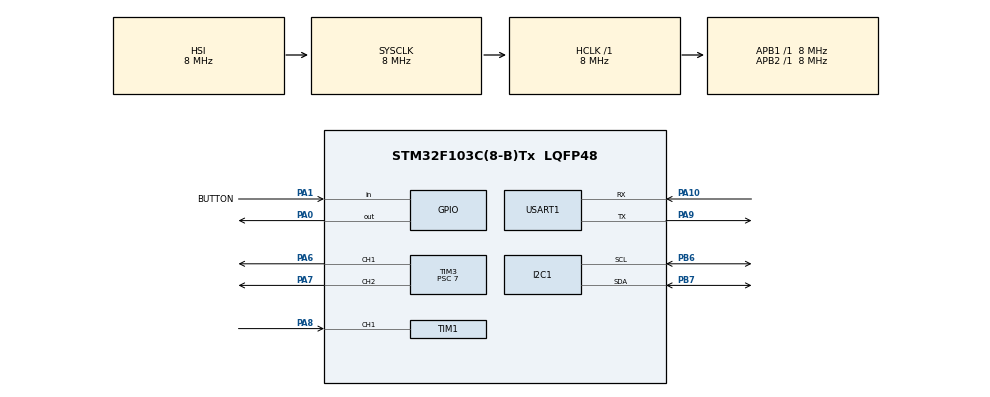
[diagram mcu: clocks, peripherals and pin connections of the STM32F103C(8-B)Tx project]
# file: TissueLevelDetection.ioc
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I2C1.I2C_Mode=I2C_Fast
Mcu.Family=STM32F1
Mcu.Name=STM32F103C(8-B)Tx
Mcu.Package=LQFP48
NVIC.PriorityGroup=NVIC_PRIORITYGROUP_4
PA0-WKUP.Signal=GPIO_Output
PA1.GPIO_Label=BUTTON
PA1.GPIO_PuPd=GPIO_PULLUP
PA1.Signal=GPIO_Input
PA10.Mode=Asynchronous
PA10.Signal=USART1_RX
PA13.Mode=Serial_Wire
PA13.Signal=SYS_JTMS-SWDIO
PA14.Mode=Serial_Wire
PA14.Signal=SYS_JTCK-SWCLK
PA6.Signal=S_TIM3_CH1
PA7.Signal=S_TIM3_CH2
PA8.Signal=S_TIM1_CH1
PA9.Mode=Asynchronous
PA9.Signal=USART1_TX
PB6.Mode=I2C
PB6.Signal=I2C1_SCL
PB7.Mode=I2C
PB7.Signal=I2C1_SDA
ProjectManager.HeapSize=0x800
ProjectManager.StackSize=0x400
ProjectManager.TargetToolchain=MDK-ARM V5.32
RCC.AHBFreq_Value=8000000
RCC.APB1Freq_Value=8000000
RCC.APB1TimCLKDivider=1
RCC.APB1TimFreq_Value=8000000
RCC.APB2Freq_Value=8000000
RCC.APB2TimFreq_Value=8000000
RCC.HCLKFreq_Value=8000000
RCC.SYSCLKFreq_VALUE=8000000
RCC.USBFreq_Value=8000000
SH.S_TIM1_CH1.0=TIM1_CH1,Input_Capture1_from_TI1
SH.S_TIM3_CH1.0=TIM3_CH1,PWM Generation1 CH1
SH.S_TIM3_CH2.0=TIM3_CH2,PWM Generation2 CH2
TIM1.AutoReloadPreload=TIM_AUTORELOAD_PRELOAD_ENABLE
TIM1.Channel-Input_Capture1_from_TI1=TIM_CHANNEL_1
TIM1.Channel-Input_Capture2_from_TI1_63=TIM_CHANNEL_2
TIM1.ICPolarity_CH2=TIM_INPUTCHANNELPOLARITY_FALLING
TIM1.Prescaler=7
TIM3.AutoReloadPreload=TIM_AUTORELOAD_PRELOAD_ENABLE
TIM3.Channel-PWM\ Generation1\ CH1=TIM_CHANNEL_1
TIM3.Channel-PWM\ Generation2\ CH2=TIM_CHANNEL_2
TIM3.Period=19999
TIM3.Prescaler=7
TIM3.Pulse-PWM\ Generation1\ CH1=500
TIM3.Pulse-PWM\ Generation2\ CH2=500
USART1.VirtualMode=VM_ASYNC
VP_TIM1_VS_ClockSourceINT.Mode=Internal
VP_TIM1_VS_indirect_ch1.Mode=Input_Capture2_from_TI1_63
board=custom

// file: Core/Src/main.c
/* USER CODE BEGIN Header */
/**
  ******************************************************************************
  * @file           : main.c
  * @brief          : Main program body
  ******************************************************************************
  * @attention
  *
  * Copyright (c) 2026 STMicroelectronics.
  * All rights reserved.
  *
  * This software is licensed under terms that can be found in the LICENSE file
  * in the root directory of this software component.
  * If no LICENSE file comes with this software, it is provided AS-IS.
  *
  ******************************************************************************
  */
/* USER CODE END Header */
#include "main.h"

/* USER CODE BEGIN Includes */
#include <stdio.h>
#include "oled.h"
#include "FreeRTOS.h"
#include "task.h"
#include "queue.h"
/* Face bitmaps (defined in face/cat_happy.c, cat-sleep.c, cat-cry.c) */
extern const uint8_t face_happy[];
extern const uint8_t face_sleep[];
extern const uint8_t face_cry[];

/* USER CODE END Includes */

/* USER CODE BEGIN PD */
/* ---- Servo control parameters (TIM3, PSC=7/ARR=19999 -> 50 Hz; CCR = deg/180*2000 + 500) ---- */
#define SERVO_ANGLE_SIT     0      /* sit = 0 deg */
#define SERVO_ANGLE_STAND   90     /* stand = 90 deg */
#define SERVO_CCR(deg)  ((uint16_t)((deg) * 2000 / 180 + 500))

#define SERVO_STEP_MS        10    /* sit/stand slow motion: 1 deg per step, hold 10 ms */
#define SERVO_STEP_DELAY_MS  200   /* walk: how long to hold each half-step */
#define SERVO_STEP_TIMES     10     /* full box (>=80%): walk forward 10 steps */

#define SERVO_MIRROR_RIGHT   1     /* right servo mirrored (=1 is correct, verified by 'in sync' test) */

/* Ultrasonic calibration (meters) */
#define DIST_FULL_M    0.02f       /* full: 2 cm */
#define DIST_EMPTY_M   0.065f      /* empty: 6.5 cm */

/* Trigger thresholds (percent) */
#define TH_WALK    75.0f           /* >=75%: walk forward */
#define TH_SLEEP   30.0f           /* <30%: sleep face + reminder */
#define TH_CRY 		 5.0f

/* Measurement cadence */
#define MEASURE_PERIOD_MS  200     /* sample every 200 ms (real-time) */
#define MEDIAN_WINDOW      7       /* sliding-median window: last N readings */
#define DISPLAY_STEP_PCT   5       /* round displayed percent to this step (5 -> 0/5/10/.../100) */
#define DIST_MAX_VALID_M   0.10f   /* discard readings beyond this (spurious echo reflections) */

/* Task parameters -----------------------------------------------------------*/
#define START_TASK_PRIO	0
#define START_STK_SIZE  256

#define CONTROL_TASK_PRIO	3
#define CONTROL_STK_SIZE  256

#define BUTTON_TASK_PRIO	3
#define BUTTON_STK_SIZE   256

#define DETECT_TASK_PRIO	2
#define DETECT_STK_SIZE   256

#define SERVO_TASK_PRIO	1
#define SERVO_STK_SIZE  256

#define OLED_TASK_PRIO	0
#define OLED_STK_SIZE   256

/* USER CODE END PD */

I2C_HandleTypeDef hi2c1;

TIM_HandleTypeDef htim1;
TIM_HandleTypeDef htim3;

UART_HandleTypeDef huart1;

/* USER CODE BEGIN PV */
OLED_TypeDef OLED;
/* TASK Variables ------------------------------------------------------------*/
TaskHandle_t StartTask_Handler;
TaskHandle_t ControlTask_Handler;
TaskHandle_t ButtonTask_Handler;
TaskHandle_t DetectTask_Handler;
TaskHandle_t ServoTask_Handler;
TaskHandle_t OLEDTask_Handler;
/* Queue Variables -----------------------------------------------------------*/
QueueHandle_t g_percentQueue;

typedef enum { SERVO_NONE=0, SERVO_WALK=1, SERVO_SLEEP=2, SERVO_CRY=3 } ServoAction_t;
// static float percent,distance; not a good method to use in rtos

/* USER CODE END PV */

void SystemClock_Config(void);
static void MX_GPIO_Init(void);
static void MX_TIM1_Init(void);
static void MX_I2C1_Init(void);
static void MX_USART1_UART_Init(void);
static void MX_TIM3_Init(void);
/* USER CODE BEGIN PFP */
/* Task function prototypes --------------------------------------------------*/
void start_task(void *pvParameters);
void control_task(void *pvParameters);
void button_task(void *pvParameters);
void detect_task(void *pvParameters);
void servo_task(void *pvParameters);
void oled_task(void *pvParameters);

/* USER CODE END PFP */

/* USER CODE BEGIN 0 */
int i2c_write_bytes(uint8_t addr, const uint8_t *pdata, uint16_t size)
{
	if (HAL_I2C_Master_Transmit(&hi2c1, addr, (uint8_t *)pdata, size, 100) != HAL_OK)
	{
		return -1;
	}
	return 0;
}

void My_OLEDScreen_Init(void)
{
	OLED_InitTypeDef OLED_InitStruct;
	OLED_InitStruct.i2c_write_cb=i2c_write_bytes;
	HAL_Delay(5);
	OLED_Init(&OLED,&OLED_InitStruct);
}

/* standby: all white (clears garbage screen on power-up / stop) */
static void OLED_ShowWhite(void)
{
    OLED_Clear(&OLED);
    OLED_SetPen(&OLED, PEN_COLOR_WHITE, 1);
    OLED_SetBrush(&OLED, BRUSH_WHITE);
    OLED_SetCursor(&OLED, 0, 0);
    OLED_DrawRect(&OLED, 128, 64);
    OLED_SendBuffer(&OLED);
}

/* distance -> tissue percent (linear calibration, 0~100) */
static float Tissue_Percent(float distance)
{
    if (distance <= DIST_FULL_M)  return 100.0f;
    if (distance >= DIST_EMPTY_M) return 0.0f;
    return (DIST_EMPTY_M - distance) / (DIST_EMPTY_M - DIST_FULL_M) * 100.0f;
}

/* set both servo angles at once (left = CH1, right = CH2) */
static void Servo_SetDegrees(int leftDeg, int rightDeg)
{
    __HAL_TIM_SET_COMPARE(&htim3, TIM_CHANNEL_1, SERVO_CCR(leftDeg));
    __HAL_TIM_SET_COMPARE(&htim3, TIM_CHANNEL_2,
        SERVO_MIRROR_RIGHT ? SERVO_CCR(180 - rightDeg) : SERVO_CCR(rightDeg));
}

/* move gradually from fromDeg to toDeg (increment + delay) */
static void Servo_MoveTo(int fromDeg, int toDeg)
{
    int step = (toDeg >= fromDeg) ? 1 : -1;
    for (int a = fromDeg; a != toDeg + step; a += step)
    {
        Servo_SetDegrees(a, a);
        vTaskDelay(pdMS_TO_TICKS(SERVO_STEP_MS));
    }
}

void OLED_ShowLevel(OLED_TypeDef *OLED, float distance)
{
	uint8_t percent = (uint8_t)Tissue_Percent(distance);

	OLED_Clear(OLED);

	// distance text
	OLED_SetCursor(OLED, 0, OLED_GetFontHeight(OLED));
	OLED_Printf(OLED, "Distance: %.2f m", distance);

	// progress bar frame
	OLED_SetPen(OLED, PEN_COLOR_WHITE, 1);
	OLED_SetBrush(OLED, BRUSH_TRANSPARENT);
	OLED_SetCursor(OLED, 14, 20);
	OLED_DrawRect(OLED, 100, 12);

	// progress bar fill
	if (percent > 0)
	{
		uint16_t fillW = (uint16_t)((100 - 2) * percent / 100);
		OLED_SetPen(OLED, PEN_COLOR_TRANSPARENT, 1);
		OLED_SetBrush(OLED, BRUSH_WHITE);
		OLED_SetCursor(OLED, 15, 21);
		OLED_DrawRect(OLED, fillW, 10);
	}

	// percent label (centered)
	char pct[8];
	snprintf(pct, sizeof(pct), "%d%%", percent);
	OLED_SetPen(OLED, PEN_COLOR_WHITE, 1);
	OLED_SetBrush(OLED, BRUSH_TRANSPARENT);
	OLED_SetCursor(OLED, (int16_t)((OLED_GetScreenWidth(OLED) - OLED_GetStrWidth(OLED, pct)) / 2), 48);
	OLED_DrawString(OLED, pct);
}
/* show tissue level (0~100): a progress bar plus the centered percentage */
static void OLED_ShowPercent(OLED_TypeDef *OLED, uint8_t percent)
{
    OLED_Clear(OLED);

    /* title */
    OLED_SetPen(OLED, PEN_COLOR_WHITE, 1);
    OLED_SetBrush(OLED, BRUSH_TRANSPARENT);
    OLED_SetCursor(OLED, 0, 0);
    OLED_DrawString(OLED, "Tissue Level");

    /* progress bar frame */
    OLED_SetCursor(OLED, 14, 24);
    OLED_DrawRect(OLED, 100, 12);

    /* progress bar fill */
    if (percent > 0)
    {
        uint16_t fillW = (uint16_t)((100 - 2) * percent / 100);
        OLED_SetPen(OLED, PEN_COLOR_TRANSPARENT, 1);
        OLED_SetBrush(OLED, BRUSH_WHITE);
        OLED_SetCursor(OLED, 15, 25);
        OLED_DrawRect(OLED, fillW, 10);
    }

    /* percent number, centered */
    char pct[8];
    snprintf(pct, sizeof(pct), "%d%%", percent);
    OLED_SetPen(OLED, PEN_COLOR_WHITE, 1);
    OLED_SetBrush(OLED, BRUSH_TRANSPARENT);
    OLED_SetCursor(OLED, (int16_t)((OLED_GetScreenWidth(OLED) - OLED_GetStrWidth(OLED, pct)) / 2), 44);
    OLED_DrawString(OLED, pct);
}

/* sit / stand */
static void Servo_Sit(void)   { Servo_SetDegrees(SERVO_ANGLE_SIT,   SERVO_ANGLE_SIT); }

/* walk (forward): the two legs must be opposite; we pass 'opposite logical angles' here, and with SERVO_MIRROR_RIGHT=1 they become
   the same physical angle (45,45)/(135,135), i.e. legs alternate; your earlier (45,45)/(135,135) was the root cause of both legs swinging in sync */
static void Servo_Step(uint8_t steps)
{
    for (uint8_t s = 0; s < steps; s++)
    {
        Servo_SetDegrees(45, 135);      /* left forward, right back */
        vTaskDelay(pdMS_TO_TICKS(SERVO_STEP_DELAY_MS));
        Servo_SetDegrees(135, 45);      /* swap */
        vTaskDelay(pdMS_TO_TICKS(SERVO_STEP_DELAY_MS));
    }
    Servo_Sit();                        /* sit down after walking */
}

/* ===== Faces ===== */
static void Show_Face(const uint8_t *bitmap)
{
    OLED_Clear(&OLED);
    OLED_SetCursor(&OLED, 0, 0);
    OLED_DrawBitmap(&OLED, 128, 64, bitmap);
    OLED_SendBuffer(&OLED);
}

static const uint8_t *Get_Face(float percent)
{
    if (percent >= TH_SLEEP) return face_happy;   /* >=40%: happy */
    if (percent >= TH_CRY)     return face_sleep;   /* 1~39%: sleep */
    return face_cry;                              /* 0%: cry */
}

/* ===== Button (internal pull-up, pressed = low), debounced, one report per press ===== */
static uint8_t Button_IsPressed(void)
{
    static uint8_t last = 1;
    uint8_t now = HAL_GPIO_ReadPin(BUTTON_GPIO_Port, BUTTON_Pin);
    if (now == 0 && last == 1)
    {
        HAL_Delay(30);                            /* debounce */
        if (HAL_GPIO_ReadPin(BUTTON_GPIO_Port, BUTTON_Pin) == 0)
        {
            last = 0;
            return 1;
        }
    }
    last = now;
    return 0;
}

/* single ultrasonic measurement; returns 1 on success and writes the distance to *pDistance */
static uint8_t Read_Once(float *pDistance)
{
    __HAL_TIM_SET_COUNTER(&htim1, 0);
    __HAL_TIM_CLEAR_FLAG(&htim1, TIM_FLAG_CC1);
    __HAL_TIM_CLEAR_FLAG(&htim1, TIM_FLAG_CC2);
    HAL_TIM_IC_Start(&htim1, TIM_CHANNEL_1);
    HAL_TIM_IC_Start(&htim1, TIM_CHANNEL_2);
    HAL_GPIO_WritePin(GPIOA, GPIO_PIN_0, GPIO_PIN_SET);
    for (volatile uint32_t i = 0; i < 80; i++);   /* ~50 us trigger pulse (>10 us min) */
    HAL_GPIO_WritePin(GPIOA, GPIO_PIN_0, GPIO_PIN_RESET);

    uint8_t success = 0;
    uint32_t expire = HAL_GetTick() + 50;
    while (HAL_GetTick() < expire)
    {
        if (__HAL_TIM_GET_FLAG(&htim1, TIM_FLAG_CC1) &&
            __HAL_TIM_GET_FLAG(&htim1, TIM_FLAG_CC2)) { success = 1; break; }
    }
    HAL_TIM_IC_Stop(&htim1, TIM_CHANNEL_1);
    HAL_TIM_IC_Stop(&htim1, TIM_CHANNEL_2);
    if (!success) return 0;

    uint16_t ccr1 = __HAL_TIM_GET_COMPARE(&htim1, TIM_CHANNEL_1);
    uint16_t ccr2 = __HAL_TIM_GET_COMPARE(&htim1, TIM_CHANNEL_2);
    *pDistance = 340.0f * (ccr2 - ccr1) * 1e-6f / 2.0f;
    return 1;
}

/* ===== State ===== */
static uint8_t Running   = 0;   /* 0 = stopped, 1 = running */
static uint8_t Ran_Happy = 0;   /* whether the >=75% walk-forward has run */
static uint8_t Ran_Sleep = 0;   /* whether the <30% reminder has run */
static uint8_t Ran_Cry   = 0;   /* whether the <5% reminder has run */

/* Task Function----------------------------------------------------*/
void start_task(void *pvParameters)
{
	taskENTER_CRITICAL();
	//create queue
	g_percentQueue = xQueueCreate(2, sizeof(float));
	//create control task
	xTaskCreate(control_task,"control_task",CONTROL_STK_SIZE,NULL,CONTROL_TASK_PRIO,&ControlTask_Handler);
	xTaskCreate(button_task,"button_task",BUTTON_STK_SIZE,NULL,BUTTON_TASK_PRIO,&ButtonTask_Handler);
	xTaskCreate(detect_task,"detect_task",DETECT_STK_SIZE,NULL,DETECT_TASK_PRIO,&DetectTask_Handler);
	xTaskCreate(servo_task,"servo_task",SERVO_STK_SIZE,NULL,SERVO_TASK_PRIO,&ServoTask_Handler);
	xTaskCreate(oled_task,"oled_task",OLED_STK_SIZE,NULL,OLED_TASK_PRIO,&OLEDTask_Handler);
	taskEXIT_CRITICAL();
	vTaskDelete(NULL);
}

void detect_task(void *pvParameters)
{
	float hist[MEDIAN_WINDOW];
	uint8_t n = 0, idx = 0;
	int8_t lastSent = -1;   /* -1 = nothing sent yet */

	for(;;)
	{
		float distance = 0;
		if (Read_Once(&distance) && distance <= DIST_MAX_VALID_M)
		{
			/* push into the sliding window */
			hist[idx] = distance;
			idx = (uint8_t)((idx + 1) % MEDIAN_WINDOW);
			if (n < MEDIAN_WINDOW) n++;

			/* median of the last n readings */
			float s[MEDIAN_WINDOW];
			for (uint8_t i = 0; i < n; i++) s[i] = hist[i];
			for (uint8_t i = 0; i + 1 < n; i++)
				for (uint8_t j = i + 1; j < n; j++)
					if (s[j] < s[i]) { float t = s[i]; s[i] = s[j]; s[j] = t; }

			/* percent rounded to DISPLAY_STEP_PCT, so 1~3% jitter doesn't flicker the display */
			float p = Tissue_Percent(s[n / 2]);
			int q = (int)(p / DISPLAY_STEP_PCT + 0.5f) * DISPLAY_STEP_PCT;
			if (q > 100) q = 100;
			if (q < 0)   q = 0;

			/* only send when the level actually changed */
			if (q != lastSent)
			{
				lastSent = q;
				float percent = (float)q;
				xQueueSend(g_percentQueue, &percent, portMAX_DELAY);
			}
		}
		vTaskDelay(pdMS_TO_TICKS(MEASURE_PERIOD_MS));
	}
}
void button_task(void *pvParameters) {
    for (;;) {
        if (Button_IsPressed()) {
            xTaskNotifyGive(ControlTask_Handler);   // send notify to control task
        }
        vTaskDelay(pdMS_TO_TICKS(10));              // 10ms
    }
}

/* evaluate a level (0~100): fire the one-shot servo action and show it on the OLED */
static void Apply_Level(float percent)
{
	ServoAction_t act = SERVO_NONE;
	if      (percent >= TH_WALK  && !Ran_Happy) { act = SERVO_WALK;  Ran_Happy = 1; }
	else if (percent < TH_CRY    && !Ran_Cry)    { act = SERVO_CRY;   Ran_Cry   = 1; }
	else if (percent < TH_SLEEP  && !Ran_Sleep)  { act = SERVO_SLEEP; Ran_Sleep = 1; }

	xTaskNotify(OLEDTask_Handler, (uint32_t)percent, eSetValueWithOverwrite);
	xTaskNotify(ServoTask_Handler, (uint32_t)act, eSetValueWithOverwrite);
}

void control_task(void *pvParameters)
{
	float currentPercent = -1.0f;   /* last received level, -1 = none yet */

	for(;;)
	{
		/* on / off toggle */
		if (ulTaskNotifyTake(pdTRUE, 0))
		{
			Running = !Running;
			if (Running)
			{
				/* reset one-shot flags, and re-show the last level immediately */
				Ran_Happy = Ran_Cry = Ran_Sleep = 0;
				if (currentPercent >= 0.0f) Apply_Level(currentPercent);
			}
			else
			{
				xTaskNotify(ServoTask_Handler, SERVO_NONE, eSetValueWithOverwrite);
				xTaskNotify(OLEDTask_Handler, 0xFF, eSetValueWithOverwrite);
			}
		}

		/* receive a new level (detect only sends when it changed) */
		float percent;
		if (xQueueReceive(g_percentQueue, &percent, pdMS_TO_TICKS(10)) == pdTRUE)
		{
			currentPercent = percent;
			if (Running) Apply_Level(percent);
		}
	}
}
void servo_task(void *pvParameters)
{

	// reseive notify from control task x=ultasknotifytake(),if x== ,switch case?
	for(;;)
	{
		uint32_t val;
		if(xTaskNotifyWait(0,0xFFFFFFFF,&val,portMAX_DELAY))
		{
			//if use switch ,the parameters only can be int type. how can i transfer
			ServoAction_t act=(ServoAction_t) val;
			switch (act)
			{
				case SERVO_WALK:
					Servo_Step(SERVO_STEP_TIMES);
					break;
				case SERVO_CRY:
					for (int i = 0; i < 5; i++)
					{
						Servo_MoveTo(SERVO_ANGLE_SIT, SERVO_ANGLE_STAND);
						Servo_MoveTo(SERVO_ANGLE_STAND, SERVO_ANGLE_SIT);
					}
					break;
				case SERVO_SLEEP:
					Servo_MoveTo(SERVO_ANGLE_SIT, SERVO_ANGLE_STAND);
					Servo_MoveTo(SERVO_ANGLE_STAND, SERVO_ANGLE_SIT);
					//need send something to control? where to delay?
					break;
				case SERVO_NONE:
					break;
				default:
					break;
				}

			}

	 }

}

void oled_task(void *pvParameters)
{
	OLED_ShowWhite();   /* boot: white screen */

	for(;;)
	{
		uint32_t val;
		if (xTaskNotifyWait(0, 0xFFFFFFFF, &val, portMAX_DELAY))
		{
			if (val == 0xFF)
			{
				OLED_ShowWhite();   /* off */
			}
			else
			{
				uint8_t percentInt = (uint8_t)val;

				/* show the new percent for 3 s, then keep that level's face */
				OLED_ShowPercent(&OLED, percentInt);
				OLED_SendBuffer(&OLED);
				vTaskDelay(pdMS_TO_TICKS(3000));

				Show_Face(Get_Face((float)percentInt));
			}
		}
	}
}
/* USER CODE END 0 */

int main(void)
{

  /* MCU Configuration--------------------------------------------------------*/

  /* Reset of all peripherals, Initializes the Flash interface and the Systick. */
  HAL_Init();

  /* Configure the system clock */
  SystemClock_Config();

  /* Initialize all configured peripherals */
  MX_GPIO_Init();
  MX_TIM1_Init();
  MX_I2C1_Init();
  MX_USART1_UART_Init();
  MX_TIM3_Init();
  /* USER CODE BEGIN 2 */
  /* may be the reason why the sys behavior wierd*/
	HAL_Delay(5);
	My_OLEDScreen_Init();
	char test[64];
	int len = snprintf(test, sizeof(test), "OK");
	HAL_UART_Transmit(&huart1, (uint8_t *)test, len, 100);
	HAL_TIM_PWM_Start(&htim3,TIM_CHANNEL_1);
	HAL_TIM_PWM_Start(&htim3,TIM_CHANNEL_2);
	Servo_Sit();   /* on boot, put both legs in the 'sit' position */
	// create start task
	xTaskCreate(start_task,"start_task",START_STK_SIZE,NULL,START_TASK_PRIO,&StartTask_Handler);
	vTaskStartScheduler();
  /* USER CODE END 2 */

  /* Infinite loop */
  while (1)
  {

  }
}

void SystemClock_Config(void)
{
  RCC_OscInitTypeDef RCC_OscInitStruct = {0};
  RCC_ClkInitTypeDef RCC_ClkInitStruct = {0};

  /** Initializes the RCC Oscillators according to the specified parameters
  * in the RCC_OscInitTypeDef structure.
  */
  RCC_OscInitStruct.OscillatorType = RCC_OSCILLATORTYPE_HSI;
  RCC_OscInitStruct.HSIState = RCC_HSI_ON;
  RCC_OscInitStruct.HSICalibrationValue = RCC_HSICALIBRATION_DEFAULT;
  RCC_OscInitStruct.PLL.PLLState = RCC_PLL_NONE;
  if (HAL_RCC_OscConfig(&RCC_OscInitStruct) != HAL_OK)
  {
    Error_Handler();
  }

  /** Initializes the CPU, AHB and APB buses clocks
  */
  RCC_ClkInitStruct.ClockType = RCC_CLOCKTYPE_HCLK|RCC_CLOCKTYPE_SYSCLK
                              |RCC_CLOCKTYPE_PCLK1|RCC_CLOCKTYPE_PCLK2;
  RCC_ClkInitStruct.SYSCLKSource = RCC_SYSCLKSOURCE_HSI;
  RCC_ClkInitStruct.AHBCLKDivider = RCC_SYSCLK_DIV1;
  RCC_ClkInitStruct.APB1CLKDivider = RCC_HCLK_DIV1;
  RCC_ClkInitStruct.APB2CLKDivider = RCC_HCLK_DIV1;

  if (HAL_RCC_ClockConfig(&RCC_ClkInitStruct, FLASH_LATENCY_0) != HAL_OK)
  {
    Error_Handler();
  }
}

static void MX_I2C1_Init(void)
{

  hi2c1.Instance = I2C1;
  hi2c1.Init.ClockSpeed = 400000;
  hi2c1.Init.DutyCycle = I2C_DUTYCYCLE_2;
  hi2c1.Init.OwnAddress1 = 0;
  hi2c1.Init.AddressingMode = I2C_ADDRESSINGMODE_7BIT;
  hi2c1.Init.DualAddressMode = I2C_DUALADDRESS_DISABLE;
  hi2c1.Init.OwnAddress2 = 0;
  hi2c1.Init.GeneralCallMode = I2C_GENERALCALL_DISABLE;
  hi2c1.Init.NoStretchMode = I2C_NOSTRETCH_DISABLE;
  if (HAL_I2C_Init(&hi2c1) != HAL_OK)
  {
    Error_Handler();
  }

}

static void MX_TIM1_Init(void)
{

  TIM_ClockConfigTypeDef sClockSourceConfig = {0};
  TIM_MasterConfigTypeDef sMasterConfig = {0};
  TIM_IC_InitTypeDef sConfigIC = {0};

  htim1.Instance = TIM1;
  htim1.Init.Prescaler = 7;
  htim1.Init.CounterMode = TIM_COUNTERMODE_UP;
  htim1.Init.Period = 65535;
  htim1.Init.ClockDivision = TIM_CLOCKDIVISION_DIV1;
  htim1.Init.RepetitionCounter = 0;
  htim1.Init.AutoReloadPreload = TIM_AUTORELOAD_PRELOAD_ENABLE;
  if (HAL_TIM_Base_Init(&htim1) != HAL_OK)
  {
    Error_Handler();
  }
  sClockSourceConfig.ClockSource = TIM_CLOCKSOURCE_INTERNAL;
  if (HAL_TIM_ConfigClockSource(&htim1, &sClockSourceConfig) != HAL_OK)
  {
    Error_Handler();
  }
  if (HAL_TIM_IC_Init(&htim1) != HAL_OK)
  {
    Error_Handler();
  }
  sMasterConfig.MasterOutputTrigger = TIM_TRGO_RESET;
  sMasterConfig.MasterSlaveMode = TIM_MASTERSLAVEMODE_DISABLE;
  if (HAL_TIMEx_MasterConfigSynchronization(&htim1, &sMasterConfig) != HAL_OK)
  {
    Error_Handler();
  }
  sConfigIC.ICPolarity = TIM_INPUTCHANNELPOLARITY_RISING;
  sConfigIC.ICSelection = TIM_ICSELECTION_DIRECTTI;
  sConfigIC.ICPrescaler = TIM_ICPSC_DIV1;
  sConfigIC.ICFilter = 0;
  if (HAL_TIM_IC_ConfigChannel(&htim1, &sConfigIC, TIM_CHANNEL_1) != HAL_OK)
  {
    Error_Handler();
  }
  sConfigIC.ICPolarity = TIM_INPUTCHANNELPOLARITY_FALLING;
  sConfigIC.ICSelection = TIM_ICSELECTION_INDIRECTTI;
  if (HAL_TIM_IC_ConfigChannel(&htim1, &sConfigIC, TIM_CHANNEL_2) != HAL_OK)
  {
    Error_Handler();
  }

}

static void MX_TIM3_Init(void)
{

  TIM_MasterConfigTypeDef sMasterConfig = {0};
  TIM_OC_InitTypeDef sConfigOC = {0};

  htim3.Instance = TIM3;
  htim3.Init.Prescaler = 7;
  htim3.Init.CounterMode = TIM_COUNTERMODE_UP;
  htim3.Init.Period = 19999;
  htim3.Init.ClockDivision = TIM_CLOCKDIVISION_DIV1;
  htim3.Init.AutoReloadPreload = TIM_AUTORELOAD_PRELOAD_ENABLE;
  if (HAL_TIM_PWM_Init(&htim3) != HAL_OK)
  {
    Error_Handler();
  }
  sMasterConfig.MasterOutputTrigger = TIM_TRGO_RESET;
  sMasterConfig.MasterSlaveMode = TIM_MASTERSLAVEMODE_DISABLE;
  if (HAL_TIMEx_MasterConfigSynchronization(&htim3, &sMasterConfig) != HAL_OK)
  {
    Error_Handler();
  }
  sConfigOC.OCMode = TIM_OCMODE_PWM1;
  sConfigOC.Pulse = 500;
  sConfigOC.OCPolarity = TIM_OCPOLARITY_HIGH;
  sConfigOC.OCFastMode = TIM_OCFAST_DISABLE;
  if (HAL_TIM_PWM_ConfigChannel(&htim3, &sConfigOC, TIM_CHANNEL_1) != HAL_OK)
  {
    Error_Handler();
  }
  if (HAL_TIM_PWM_ConfigChannel(&htim3, &sConfigOC, TIM_CHANNEL_2) != HAL_OK)
  {
    Error_Handler();
  }
  HAL_TIM_MspPostInit(&htim3);

}

static void MX_USART1_UART_Init(void)
{

  huart1.Instance = USART1;
  huart1.Init.BaudRate = 115200;
  huart1.Init.WordLength = UART_WORDLENGTH_8B;
  huart1.Init.StopBits = UART_STOPBITS_1;
  huart1.Init.Parity = UART_PARITY_NONE;
  huart1.Init.Mode = UART_MODE_TX_RX;
  huart1.Init.HwFlowCtl = UART_HWCONTROL_NONE;
  huart1.Init.OverSampling = UART_OVERSAMPLING_16;
  if (HAL_UART_Init(&huart1) != HAL_OK)
  {
    Error_Handler();
  }

}

static void MX_GPIO_Init(void)
{
  GPIO_InitTypeDef GPIO_InitStruct = {0};

  /* GPIO Ports Clock Enable */
  __HAL_RCC_GPIOA_CLK_ENABLE();
  __HAL_RCC_GPIOB_CLK_ENABLE();

  /*Configure GPIO pin Output Level */
  HAL_GPIO_WritePin(GPIOA, GPIO_PIN_0, GPIO_PIN_RESET);

  /*Configure GPIO pin : PA0 */
  GPIO_InitStruct.Pin = GPIO_PIN_0;
  GPIO_InitStruct.Mode = GPIO_MODE_OUTPUT_PP;
  GPIO_InitStruct.Pull = GPIO_NOPULL;
  GPIO_InitStruct.Speed = GPIO_SPEED_FREQ_LOW;
  HAL_GPIO_Init(GPIOA, &GPIO_InitStruct);

  /*Configure GPIO pin : BUTTON_Pin */
  GPIO_InitStruct.Pin = BUTTON_Pin;
  GPIO_InitStruct.Mode = GPIO_MODE_INPUT;
  GPIO_InitStruct.Pull = GPIO_PULLUP;
  HAL_GPIO_Init(BUTTON_GPIO_Port, &GPIO_InitStruct);

}

void Error_Handler(void)
{
  __disable_irq();
  while (1)
  {
  }
}
